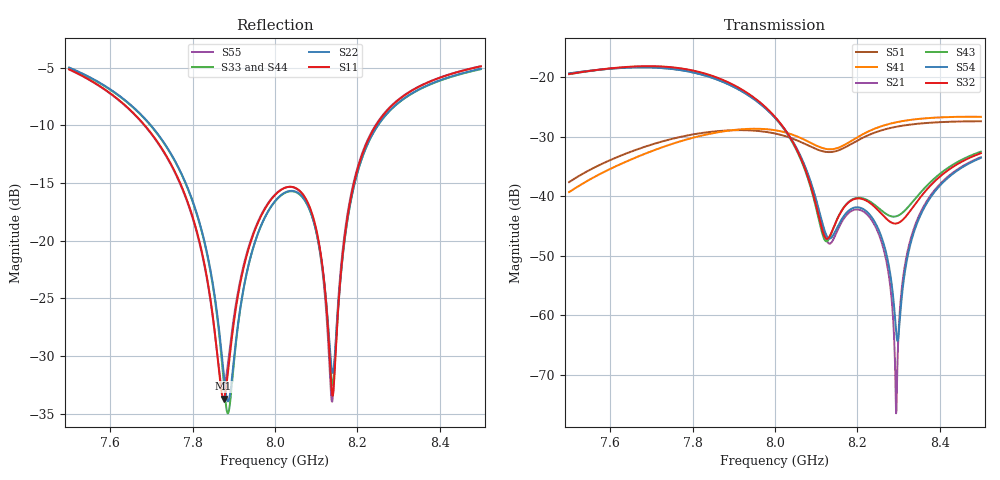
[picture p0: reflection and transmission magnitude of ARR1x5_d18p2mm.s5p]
! Touchstone file exported from HFSS 2025.1.0
!  File:  C:/Users/user/Documents/Ansoft/TFG_UWB-MIMO-Array.aedt
!  Generated:  09:03:17 PM Nov 21, 2026
!  Design:  ARR1x5_US3_PS4_2_1_dparam
!  Project:  TFG_UWB-MIMO-Array
!  Setup:  Setup_ch9
!  Solution:  Sweep_7p5_8p5
! Variables:
!  arr_d = 18.2mm
!  board_m = 13mm
!  board_x = 98.8mm
!  board_y = 26mm
!  cu_t = 0.035mm
!  line_w = 3.92mm
!  pad_xy = 22mm
!  pad_zn = 25mm
!  pad_zp = 33mm
!  par_L = 7.46mm
!  par_W = 10mm
!  par_yc = 0.75mm
!  par_z = 1.035mm
!  patch_L = 6.222mm
!  patch_W = 11.421266mm
!  sub_h = 2.07mm
!  tr_l = 6.6mm
!  tr_w = 0.8mm
!  u_Lu = 2.65mm
!  u_Wu = 4.4mm
!  u_t = 0.8mm
!  u_y0 = -0.7mm
# GHz S MA R 50.000000
! Terminal data exported
! Port[1] = P1
! Port[2] = P2
! Port[3] = P3
! Port[4] = P4
! Port[5] = P5
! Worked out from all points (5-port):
!   1001 points, 7.5 GHz to 8.5 GHz, reference 50 ohm
!   strongest paths, dB at 7.5 GHz, 7.75 GHz, 8 GHz, 8.25 GHz, 8.5 GHz:
!     S32: -19.5, -18.3, -26.7, -42.3, -32.8
!     S54: -19.4, -18.6, -26.8, -45.4, -33.6
!     S43: -19.5, -18.4, -26.8, -41.9, -32.5
!     S21: -19.4, -18.6, -26.8, -46.0, -33.4
!     S41: -39.3, -31.2, -28.9, -28.4, -26.6
!     S51: -37.6, -30.4, -29.5, -29.1, -27.4
!   lowest |S11| = -33.7 dB at 7.875 GHz (marker M1), VSWR 1.04, Z = 48.3 + j1.07 ohm
!   |S11| at or under -10 dB: 7.684 GHz to 8.245 GHz (561.7 MHz wide, 7.05 % of centre)
